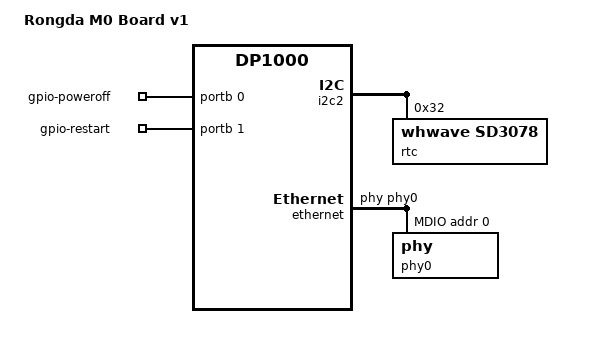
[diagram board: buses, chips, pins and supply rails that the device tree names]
// SPDX-License-Identifier: GPL-2.0
/*
 * Copyright(C) 2025 UltraRISC Technology (Shanghai) Co., Ltd.
 */

#include "dp1000-m0-pinctrl.dtsi"
#include <dt-bindings/iio/temperature/thermocouple.h>
#include <dt-bindings/gpio/gpio.h>

/ {
	model = "Rongda M0 Board v1";
	compatible = "rongda,m0-v1", "ultrarisc,dp1000";

	chosen {
		stdout-path = "serial0:115200n8";
	};

	aliases {
		serial0 = &uart0;
		serial1 = &uart1;
		serial2 = &uart2;
		serial3 = &uart3;
	};

	gpio-poweroff {
		compatible = "gpio-poweroff";
		gpios = <&portb 0 GPIO_ACTIVE_HIGH>;
		active-delay-ms = <100>;
		line-name = "power-off";
		status = "okay";
	};

	gpio-restart {
		compatible = "gpio-restart";
		gpios = <&portb 1 GPIO_ACTIVE_HIGH>;
		active-delay-ms = <100>;
		line-name = "reset-system";
		status = "okay";
	};
};

&i2c0 {
	pinctrl-names = "default";
	pinctrl-0 = <&i2c0_pins>;
};

&i2c1 {
	pinctrl-names = "default";
	pinctrl-0 = <&i2c1_pins>;
};

&i2c2 {
	pinctrl-names = "default";
	pinctrl-0 = <&i2c2_pins>;

	rtc@32 {
		compatible = "whwave,sd3078";
		reg = <0x32>;
	};
};

&i2c3 {
	pinctrl-names = "default";
	pinctrl-0 = <&i2c3_pins>;
};

&spi0 {
	pinctrl-names = "default";
	pinctrl-0 = <&spi0_pins>;
};

&spi1 {
	num-cs = <1>;

	pinctrl-names = "default";
	pinctrl-0 = <&spi1_pins>;
};

&uart0 {
	pinctrl-names = "default";
	pinctrl-0 = <&uart0_pins>;
};

&uart1 {
	pinctrl-names = "default";
	pinctrl-0 = <&uart1_pins>;
};

&uart2 {
	pinctrl-names = "default";
	pinctrl-0 = <&uart2_pins>;
};

&ethernet {
	phy-handle = <&phy0>;
	mdio {
		#address-cells = <0x01>;
		#size-cells = <0x00>;
		compatible = "snps,dwmac-mdio";
		phy0: phy@0{
			phandle = <0x04>;
			reg = <0x00>;
			status = "okay";
		};
	};
};
